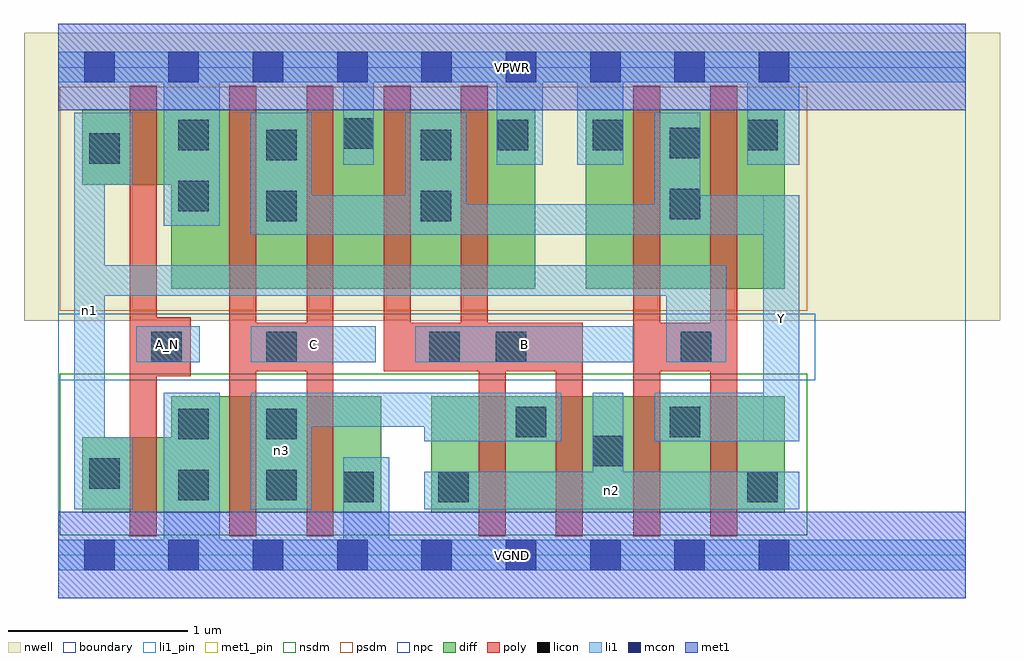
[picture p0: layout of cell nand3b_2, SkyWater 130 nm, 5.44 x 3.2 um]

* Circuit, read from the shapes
.subckt nand3b_2 A_N B C VGND VPWR Y n1 n2 n3
XM1 VGND A_N n1 VSUBS sky130_fd_pr__nfet_01v8 w=0.42 l=0.15
XM2 n3 C VGND VSUBS sky130_fd_pr__nfet_01v8 w=0.65 l=0.15 m=2
XM3 n3 B n2 VSUBS sky130_fd_pr__nfet_01v8 w=0.65 l=0.15 m=2
XM4 Y n1 n2 VSUBS sky130_fd_pr__nfet_01v8 w=0.65 l=0.15 m=2
XM5 VPWR A_N n1 n4 sky130_fd_pr__pfet_01v8 w=0.42 l=0.15
XM6 Y C VPWR n4 sky130_fd_pr__pfet_01v8 w=1 l=0.15 m=2
XM7 Y B VPWR n4 sky130_fd_pr__pfet_01v8 w=1 l=0.15 m=2
XM8 Y n1 VPWR n4 sky130_fd_pr__pfet_01v8 w=1 l=0.15 m=2
.ends

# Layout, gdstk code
import gdstk
lib = gdstk.Library(unit=1e-6, precision=1e-09)
def R(c, l, rs):  # rectangles x0, y0, x1, y1
    for r in rs: c.add(gdstk.rectangle(r[:2], r[2:], *l))
def A(c, l, x, y, w, h, nx, ny, dx, dy):  # array of equal rectangles
    R(c, l, [(x+i*dx, y+j*dy, x+i*dx+w, y+j*dy+h) for i in range(nx) for j in range(ny)])
nwell = (64, 20)
diff = (65, 20)
poly = (66, 20)
licon = (66, 44)
li1_pin = (67, 16)
li1 = (67, 20)
mcon = (67, 44)
met1_pin = (68, 16)
met1 = (68, 20)
nsdm = (93, 44)
psdm = (94, 20)
npc = (95, 20)
boundary = (235, 4)

nand3b_2 = lib.new_cell('nand3b_2')
R(nand3b_2, nwell, [(-0.19,1.305,5.25,2.91), (0,1.305,5.06,2.91)])
R(nand3b_2, diff, [(0.135,0.235,1.8,0.655), (0.63,0.235,1.8,0.885), (2.08,0.235,4.05,0.885), (0.63,1.485,2.66,2.485), (2.94,1.485,4.05,2.485), (0.135,2.065,2.66,2.485)])
R(nand3b_2, poly, [(0.4,0.105,0.55,2.615), (0.955,0.105,1.105,2.615), (1.385,0.105,1.535,2.615), (2.345,0.105,2.495,1.295), (2.775,0.105,2.925,1.295), (3.205,0.105,3.355,2.615), (3.635,0.105,3.785,2.615), (0.4,0.995,0.74,1.325), (0.955,1.025,1.535,1.295), (1.815,1.025,2.925,1.295), (1.815,1.025,1.965,2.615), (2.245,1.025,2.395,2.615), (3.205,1.025,3.785,1.295)])
R(nand3b_2, licon, [(1.59,0.295,1.76,0.465), (2.12,0.295,2.29,0.465), (3.84,0.295,4.01,0.465), (0.67,0.305,0.84,0.475), (1.16,0.305,1.33,0.475), (0.175,0.37,0.345,0.54), (2.98,0.495,3.15,0.665), (0.67,0.645,0.84,0.815), (1.16,0.645,1.33,0.815), (2.55,0.655,2.72,0.825), (3.41,0.655,3.58,0.825), (0.52,1.075,0.69,1.245), (1.16,1.075,1.33,1.245), (2.07,1.075,2.24,1.245), (2.44,1.075,2.61,1.245), (3.47,1.075,3.64,1.245), (1.16,1.86,1.33,2.03), (2.02,1.86,2.19,2.03), (3.41,1.87,3.58,2.04), (0.67,1.915,0.84,2.085), (0.175,2.18,0.345,2.35), (1.16,2.2,1.33,2.37), (2.02,2.2,2.19,2.37), (3.41,2.21,3.58,2.38), (0.67,2.255,0.84,2.425), (2.45,2.255,2.62,2.425), (2.98,2.255,3.15,2.425), (3.84,2.255,4.01,2.425), (1.59,2.265,1.76,2.435)])
R(nand3b_2, li1_pin, [(3.93,0.635,4.13,2.005), (0.435,1.075,0.79,1.275), (1.075,1.075,1.77,1.275), (1.99,1.075,3.205,1.275)])
R(nand3b_2, li1, [(0,-0.085,5.06,0.085), (0.59,-0.085,0.9,0.905), (1.59,-0.085,1.845,0.545), (0.09,0.255,0.26,2.465), (0.09,0.255,0.415,0.655), (1.075,0.255,1.415,0.905), (2.04,0.255,4.13,0.465), (2.98,0.255,3.15,0.905), (2.04,0.635,2.805,0.905), (3.325,0.635,4.13,0.905), (3.93,0.635,4.13,2.005), (1.075,0.715,2.805,0.905), (0.435,1.075,0.79,1.275), (1.075,1.075,1.77,1.275), (1.99,1.075,3.205,1.275), (3.39,1.075,3.725,1.615), (0.09,1.445,3.725,1.615), (1.075,1.785,4.13,1.955), (1.075,1.785,1.415,2.465), (1.075,1.785,2.275,2.005), (1.935,1.785,2.275,2.465), (3.325,1.785,3.58,2.465), (3.325,1.785,4.13,2.005), (0.59,1.835,0.9,2.805), (0.09,2.065,0.415,2.465), (1.59,2.175,1.76,2.805), (2.445,2.175,2.7,2.805), (2.895,2.175,3.15,2.805), (3.84,2.175,4.13,2.805), (0,2.635,5.06,2.805)])
A(nand3b_2, mcon, 0.145, -0.085, 0.17, 0.17, 9, 2, 0.47, 2.72)
R(nand3b_2, met1_pin, [(0,-0.24,5.06,0.24), (0,2.48,5.06,2.96)])
R(nand3b_2, met1, [(0,-0.24,5.06,0.24), (0,2.48,5.06,2.96)])
R(nand3b_2, nsdm, [(0.01,0.11,4.175,1.01)])
R(nand3b_2, psdm, [(0.01,1.36,4.175,2.61)])
R(nand3b_2, npc, [(0,0.975,4.22,1.345)])
R(nand3b_2, boundary, [(0,0,5.06,2.72)])
nand3b_2.add(gdstk.Label('A_N', (0.612,1.175), layer=67, texttype=5))
nand3b_2.add(gdstk.Label('B', (2.597,1.175), layer=67, texttype=5))
nand3b_2.add(gdstk.Label('C', (1.422,1.175), layer=67, texttype=5))
nand3b_2.add(gdstk.Label('Y', (4.03,1.32), layer=67, texttype=5))
nand3b_2.add(gdstk.Label('n3', (1.245,0.58), layer=67, texttype=5))
nand3b_2.add(gdstk.Label('n2', (3.085,0.36), layer=67, texttype=5))
nand3b_2.add(gdstk.Label('n1', (0.175,1.36), layer=67, texttype=5))
nand3b_2.add(gdstk.Label('VPWR', (2.53,2.72), layer=68, texttype=5))
nand3b_2.add(gdstk.Label('VGND', (2.53,0), layer=68, texttype=5))
nand3b_2.add(gdstk.Label('A_N', (0.612,1.175), layer=67, texttype=16))
nand3b_2.add(gdstk.Label('B', (2.597,1.175), layer=67, texttype=16))
nand3b_2.add(gdstk.Label('C', (1.422,1.175), layer=67, texttype=16))
nand3b_2.add(gdstk.Label('Y', (4.03,1.32), layer=67, texttype=16))
nand3b_2.add(gdstk.Label('VPWR', (2.53,2.72), layer=68, texttype=16))
nand3b_2.add(gdstk.Label('VGND', (2.53,0), layer=68, texttype=16))

lib.write_gds('nand3b_2.gds')
